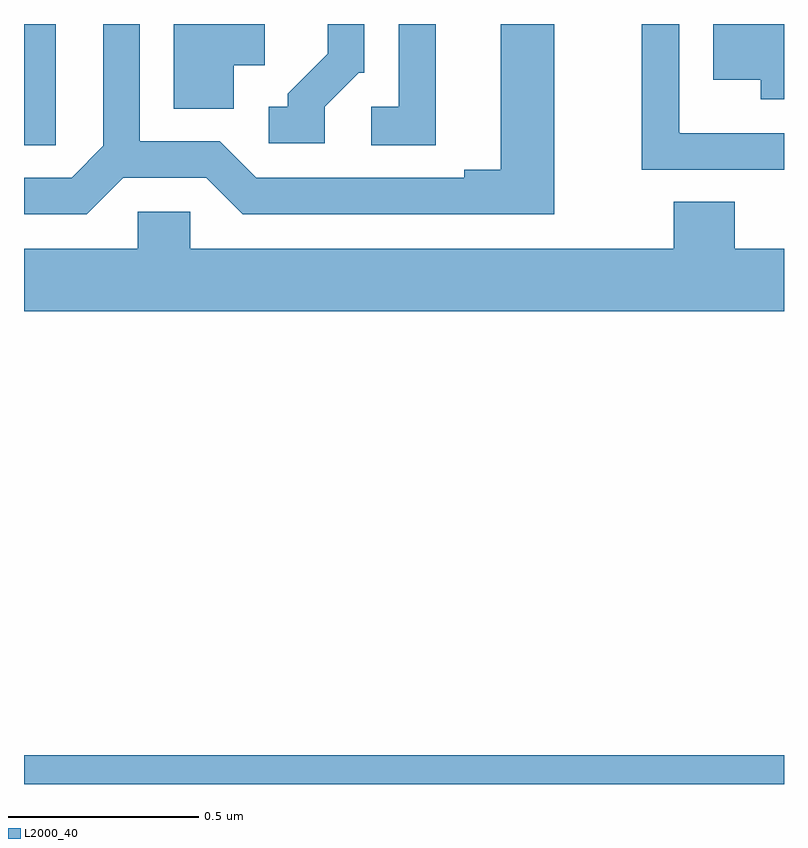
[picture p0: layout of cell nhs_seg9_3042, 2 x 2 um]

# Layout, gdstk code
import gdstk
lib = gdstk.Library(unit=1e-6, precision=1e-09)
def R(c, l, rs):  # rectangles x0, y0, x1, y1
    for r in rs: c.add(gdstk.rectangle(r[:2], r[2:], *l))
def P(c, l, *ps):  # polygons
    for p in ps: c.add(gdstk.Polygon(p, *l))
L2000_40 = (2000, 40)

nhs_seg9_3042 = lib.new_cell('nhs_seg9_3042')
R(nhs_seg9_3042, L2000_40, [(148,1204.5,150,1204.576)])
P(nhs_seg9_3042, L2000_40, [(149.083,1206.5),(148.986,1206.5),(148.986,1206.282),(148.914,1206.282),(148.914,1206.181),(149.083,1206.181)],
  [(150,1206.213),(149.726,1206.213),(149.726,1206.214),(149.724,1206.214),(149.724,1206.5),(149.626,1206.5),(149.626,1206.117),(150,1206.117)],
  [(148.791,1206.282),(148.881,1206.372),(148.896,1206.372),(148.896,1206.5),(148.799,1206.5),(148.799,1206.422),(148.694,1206.317),(148.694,1206.282),(148.644,1206.282),(148.644,1206.186),(148.791,1206.186)],
  [(148.083,1206.289),(148.084,1206.289),(148.084,1206.5),(148,1206.5),(148,1206.181),(148.083,1206.181)],
  [(148.552,1206.392),(148.633,1206.392),(148.633,1206.5),(148.394,1206.5),(148.394,1206.277),(148.552,1206.277)],
  [(148.261,1206.096),(148.479,1206.096),(148.575,1206),(149.395,1206),(149.395,1206.5),(149.255,1206.5),(149.255,1206.116),(149.159,1206.116),(149.159,1206.096),(148.611,1206.096),(148.515,1206.192),(148.305,1206.192),(148.305,1206.5),(148.209,1206.5),(148.209,1206.18),(148.125,1206.096),(148,1206.096),(148,1206),(148.165,1206)],
  [(150,1206.5),(149.814,1206.5),(149.814,1206.353),(149.939,1206.353),(149.939,1206.302),(150,1206.302)],
  [(150,1205.908),(149.87,1205.908),(149.87,1206.032),(149.71,1206.032),(149.71,1205.908),(148.437,1205.908),(148.437,1206.006),(148.299,1206.006),(148.299,1205.908),(148,1205.908),(148,1205.744),(150,1205.744)])

lib.write_gds('nhs_seg9_3042.gds')
